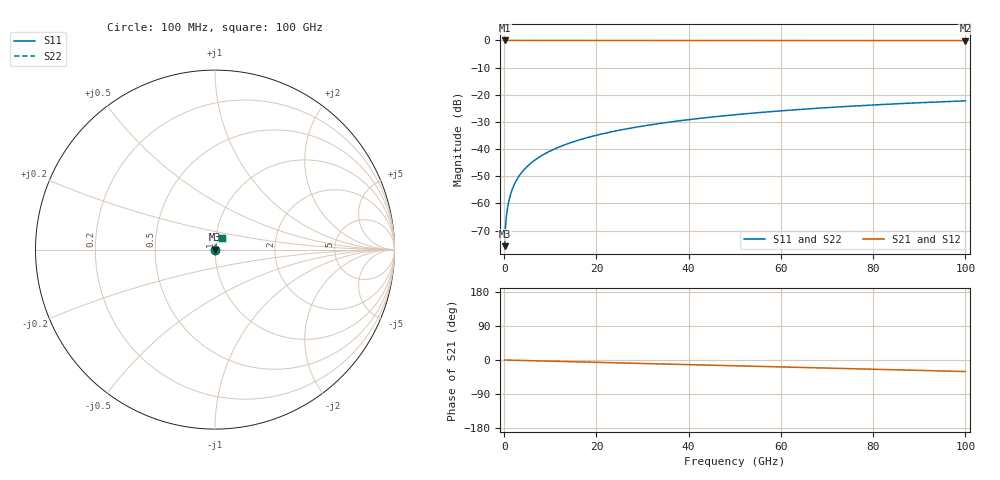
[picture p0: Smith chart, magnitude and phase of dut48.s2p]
! Touchstone file exported from HFSS 2026.1.0
!  File:  C:/ffzhzh/LocalFiles/Ansys_Project_Files/temp_train_TSV_48_1783504885_41296.aedt
!  Generated:  06:02:40 PM Jul  8, 2026
!  Design:  TSV
!  Project:  temp_train_TSV_48_1783504885_41296
! Variables:
!  h_bsmrdl = 2um
!  h_ox = 20um
!  h_rdl = 5um
!  h_sub = 56.2um
!  h_tmrdl = 5um
!  h_tsv = 56.2um
!  h_via = 3um
!  l_bsmrdl = 300um
!  l_sub = 418.62um
!  l_tmrdl = 200um
!  m_sub = 200um
!  pitch = 45.09um
!  r_tsv = 9.31um
!  s_tmrdl = 10um
!  w_bsmrdl = 18um
!  w_sub = 500um
!  w_tmrdl = 12um
!  x_tsv_center1 = 206um
!  x_tsv_center2 = 524um
!  x_tsv_center3 = 736um
!  x_tsv_center4 = 1054um
!  x_tsv_center5 = 1266um
!  x_tsv_center6 = 1584um
# GHz S MA R 50.000000
! Terminal data exported
! Port[1] = TSV1_1_T1
! Port[2] = TSV1_1_T2
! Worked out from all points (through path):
!   1000 points, 100 MHz to 100 GHz, reference 50 ohm
!   highest |S21| = 0.00 dB at 100 MHz (marker M1); lowest = 0.0 dB at 100 GHz (marker M2)
!   group delay of S21, straight-line fit = 845 fs
!   lowest |S11| = -75.7 dB at 100 MHz (marker M3), VSWR 1.00, Z = 50 + j0.0122 ohm
!   |S11| at or under -10 dB: start of sweep to end of sweep
!   |S22| runs from -75.7 to -22.2 dB; largest |S21 - S12| = 2.7e-15
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0.1  0.0001635 48.3  0.9999 -0.0  0.9999 -0.0  0.0001635 48.3
! Gamma 0 0 0 0
! Port Impedance 50 0 50 0
0.4  0.0004869 72.1  0.9999 -0.1  0.9999 -0.1  0.0004869 72.1
0.7  0.000794 75.9  0.9998 -0.2  0.9998 -0.2  0.000794 75.9
0.8  0.000893 76.7  0.9998 -0.3  0.9998 -0.3  0.000893 76.7
1.1  0.001186 78.4  0.9998 -0.3  0.9998 -0.3  0.001186 78.4
1.4  0.001476 79.4  0.9997 -0.4  0.9997 -0.4  0.001476 79.4
1.9  0.001953 80.5  0.9997 -0.6  0.9997 -0.6  0.001953 80.5
2.4  0.002422 81.1  0.9997 -0.7  0.9997 -0.7  0.002422 81.1
3.1  0.003069 81.7  0.9996 -1.0  0.9996 -1.0  0.003069 81.7
3.9  0.003799 82.1  0.9996 -1.2  0.9996 -1.2  0.003799 82.1
4.9  0.004703 82.5  0.9995 -1.5  0.9995 -1.5  0.004703 82.5
6.1  0.005781 82.7  0.9994 -1.9  0.9994 -1.9  0.005781 82.7
8.9  0.00828 82.7  0.9993 -2.7  0.9993 -2.7  0.00828 82.7
12.4  0.01137 82.2  0.9991 -3.8  0.9991 -3.8  0.01137 82.2
16.8  0.01521 81.4  0.999 -5.1  0.999 -5.1  0.01521 81.3
24.2  0.0216 79.7  0.9987 -7.4  0.9987 -7.4  0.0216 79.7
33.4  0.02939 77.3  0.9983 -10.2  0.9983 -10.2  0.02939 77.3
41.2  0.03583 75.2  0.9979 -12.6  0.9979 -12.6  0.03583 75.1
50.1  0.04298 72.7  0.9975 -15.3  0.9975 -15.3  0.04298 72.6
66.7  0.05562 67.9  0.9966 -20.3  0.9966 -20.3  0.05562 67.8
83.4  0.06719 63.0  0.9956 -25.4  0.9956 -25.4  0.06719 62.9
100  0.07727 58.1  0.9946 -30.4  0.9946 -30.4  0.07727 58.0
